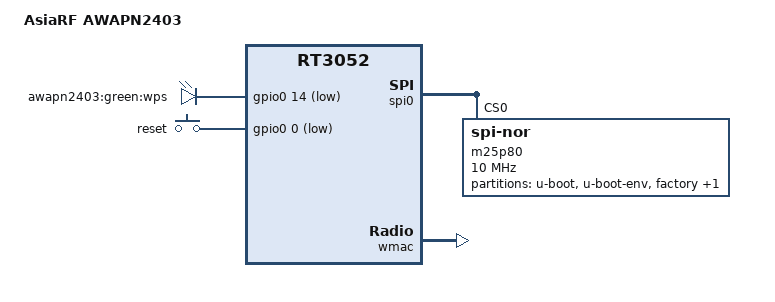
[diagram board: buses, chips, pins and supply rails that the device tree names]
/dts-v1/;

#include "rt3050.dtsi"

/ {
	compatible = "AWAPN2403", "ralink,rt3052-soc";
	model = "AsiaRF AWAPN2403";

	gpio-leds {
		compatible = "gpio-leds";

		link {
			label = "awapn2403:green:wps";
			gpios = <&gpio0 14 1>;
		};
	};

	gpio-keys-polled {
		compatible = "gpio-keys-polled";
		#address-cells = <1>;
		#size-cells = <0>;
		poll-interval = <20>;

		reset {
			label = "reset";
			gpios = <&gpio0 0 1>;
			linux,code = <0x198>;
		};
	};
};

&spi0 {
	status = "okay";

	m25p80@0 {
		#address-cells = <1>;
		#size-cells = <1>;
		compatible = "jedec,spi-nor";
		reg = <0>;
		linux,modalias = "m25p80", "mx25l3205d";
		spi-max-frequency = <10000000>;

		partition@0 {
			label = "u-boot";
			reg = <0x0 0x30000>;
			read-only;
		};

		partition@30000 {
			label = "u-boot-env";
			reg = <0x30000 0x10000>;
			read-only;
		};

		factory: partition@40000 {
			label = "factory";
			reg = <0x40000 0x10000>;
			read-only;
		};

		partition@50000 {
			label = "firmware";
			reg = <0x50000 0x3b0000>;
		};
	};
};

&pinctrl {
	state_default: pinctrl0 {
		gpio {
			ralink,group = "i2c", "jtag", "rgmii", "mdio", "uartf";
			ralink,function = "gpio";
		};
	};
};

&esw {
	mediatek,portmap = <0x3e>;
};

&wmac {
	ralink,mtd-eeprom = <&factory 0>;
};
